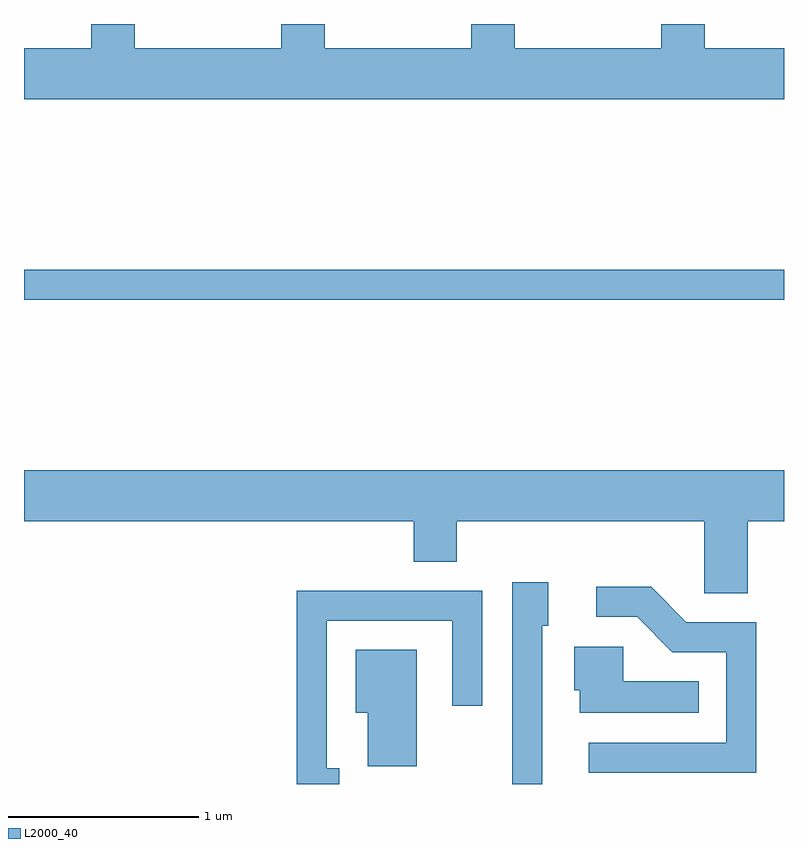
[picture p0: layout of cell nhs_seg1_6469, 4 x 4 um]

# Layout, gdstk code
import gdstk
lib = gdstk.Library(unit=1e-6, precision=1e-09)
def R(c, l, rs):  # rectangles x0, y0, x1, y1
    for r in rs: c.add(gdstk.rectangle(r[:2], r[2:], *l))
def P(c, l, *ps):  # polygons
    for p in ps: c.add(gdstk.Polygon(p, *l))
L2000_40 = (2000, 40)

nhs_seg1_6469 = lib.new_cell('nhs_seg1_6469')
R(nhs_seg1_6469, L2000_40, [(379.611,936.261,383.611,936.419)])
P(nhs_seg1_6469, L2000_40, [(383.611,937.584),(383.194,937.584),(383.194,937.712),(382.966,937.712),(382.966,937.584),(382.194,937.584),(382.194,937.712),(381.966,937.712),(381.966,937.584),(381.194,937.584),(381.194,937.712),(380.966,937.712),(380.966,937.584),(380.194,937.584),(380.194,937.712),(379.966,937.712),(379.966,937.584),(379.611,937.584),(379.611,937.316),(383.611,937.316)],
  [(383.419,935.096),(383.611,935.096),(383.611,935.364),(379.611,935.364),(379.611,935.096),(381.661,935.096),(381.661,934.881),(381.889,934.881),(381.889,935.096),(383.191,935.096),(383.191,934.716),(383.419,934.716)],
  [(382.339,934.546),(382.369,934.546),(382.369,934.774),(382.181,934.774),(382.181,933.712),(382.339,933.712)],
  [(383.464,934.564),(383.097,934.564),(382.912,934.749),(382.623,934.749),(382.623,934.591),(382.839,934.591),(383.024,934.406),(383.306,934.406),(383.306,933.929),(382.583,933.929),(382.583,933.771),(383.464,933.771)],
  [(381.269,933.794),(381.204,933.794),(381.204,934.571),(381.866,934.571),(381.866,934.123),(382.024,934.123),(382.024,934.729),(381.046,934.729),(381.046,933.712),(381.269,933.712)],
  [(383.163,934.254),(382.764,934.254),(382.764,934.434),(382.506,934.434),(382.506,934.206),(382.536,934.206),(382.536,934.086),(383.163,934.086)],
  [(381.679,934.419),(381.356,934.419),(381.356,934.086),(381.421,934.086),(381.421,933.806),(381.679,933.806)])

lib.write_gds('nhs_seg1_6469.gds')
